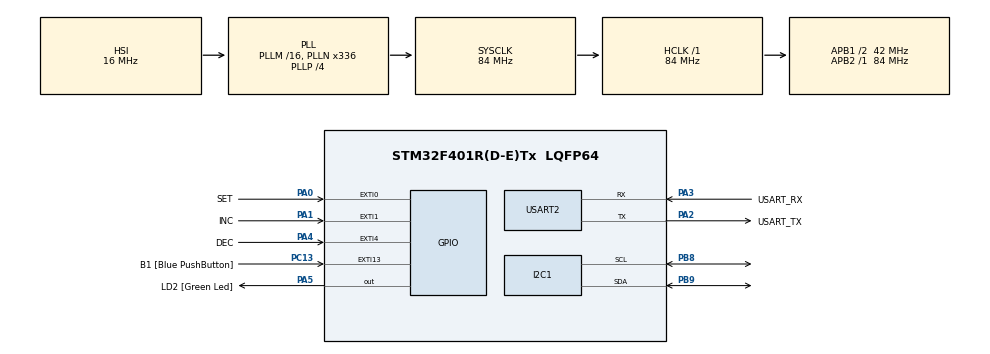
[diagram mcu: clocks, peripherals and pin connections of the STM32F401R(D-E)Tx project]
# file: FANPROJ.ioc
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FREERTOS.Tasks01=defaultTask,24,128,StartDefaultTask,Default,NULL,Dynamic,NULL,NULL
FREERTOS.configUSE_NEWLIB_REENTRANT=1
Mcu.Family=STM32F4
Mcu.Name=STM32F401R(D-E)Tx
Mcu.Package=LQFP64
NVIC.EXTI0_IRQn=true\:5\:0\:false\:false\:true\:false\:true\:true
NVIC.EXTI15_10_IRQn=true\:5\:0\:false\:false\:true\:true\:true\:true
NVIC.EXTI1_IRQn=true\:5\:0\:false\:false\:true\:false\:true\:true
NVIC.EXTI4_IRQn=true\:5\:0\:false\:false\:true\:false\:true\:true
NVIC.PriorityGroup=NVIC_PRIORITYGROUP_4
NVIC.TIM1_UP_TIM10_IRQn=true\:5\:0\:false\:false\:true\:false\:false\:true
NVIC.TimeBase=TIM1_UP_TIM10_IRQn
NVIC.TimeBaseIP=TIM1
PA0-WKUP.GPIO_Label=SET
PA0-WKUP.Signal=GPXTI0
PA1.GPIO_Label=INC
PA1.Signal=GPXTI1
PA13.GPIO_Label=TMS
PA13.Signal=SYS_JTMS-SWDIO
PA14.GPIO_Label=TCK
PA14.Signal=SYS_JTCK-SWCLK
PA2.GPIO_Label=USART_TX
PA2.GPIO_Mode=GPIO_MODE_AF_PP
PA2.GPIO_PuPd=GPIO_NOPULL
PA2.GPIO_Speed=GPIO_SPEED_FREQ_LOW
PA2.Mode=Asynchronous
PA2.Signal=USART2_TX
PA3.GPIO_Label=USART_RX
PA3.GPIO_Mode=GPIO_MODE_AF_PP
PA3.GPIO_PuPd=GPIO_NOPULL
PA3.GPIO_Speed=GPIO_SPEED_FREQ_LOW
PA3.Mode=Asynchronous
PA3.Signal=USART2_RX
PA4.GPIO_Label=DEC
PA4.Signal=GPXTI4
PA5.GPIO_Label=LD2 [Green Led]
PA5.GPIO_Mode=GPIO_MODE_OUTPUT_PP
PA5.GPIO_PuPd=GPIO_NOPULL
PA5.GPIO_Speed=GPIO_SPEED_FREQ_LOW
PA5.Signal=GPIO_Output
PB3.GPIO_Label=SWO
PB3.Signal=SYS_JTDO-SWO
PB8.Mode=I2C
PB8.Signal=I2C1_SCL
PB9.Mode=I2C
PB9.Signal=I2C1_SDA
PC13-ANTI_TAMP.GPIO_Label=B1 [Blue PushButton]
PC13-ANTI_TAMP.GPIO_ModeDefaultEXTI=GPIO_MODE_IT_RISING_FALLING
PC13-ANTI_TAMP.GPIO_PuPd=GPIO_NOPULL
PC13-ANTI_TAMP.Signal=GPXTI13
ProjectManager.HeapSize=0x200
ProjectManager.StackSize=0x400
ProjectManager.TargetToolchain=STM32CubeIDE
RCC.AHBFreq_Value=84000000
RCC.APB1CLKDivider=RCC_HCLK_DIV2
RCC.APB1Freq_Value=42000000
RCC.APB1TimFreq_Value=84000000
RCC.APB2Freq_Value=84000000
RCC.APB2TimFreq_Value=84000000
RCC.CortexFreq_Value=84000000
RCC.HCLKFreq_Value=84000000
RCC.HSE_VALUE=8000000
RCC.HSI_VALUE=16000000
RCC.LSE_VALUE=32768
RCC.PLLN=336
RCC.PLLP=RCC_PLLP_DIV4
RCC.PLLQ=7
RCC.SYSCLKFreq_VALUE=84000000
RCC.SYSCLKSource=RCC_SYSCLKSOURCE_PLLCLK
RCC.VCOOutputFreq_Value=336000000
TIM10.AutoReloadPreload=TIM_AUTORELOAD_PRELOAD_DISABLE
TIM10.Period=65536 - 1
TIM10.Prescaler=8400 - 1
USART2.VirtualMode=VM_ASYNC
VP_FREERTOS_VS_CMSIS_V2.Mode=CMSIS_V2
VP_SYS_VS_tim1.Mode=TIM1
VP_TIM10_VS_ClockSourceINT.Mode=Enable_Timer
board=NUCLEO-F401RE

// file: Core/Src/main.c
/* USER CODE BEGIN Header */
/**
  ******************************************************************************
  * @file           : main.c
  * @brief          : Main program body
  ******************************************************************************
  * @attention
  *
  * Copyright (c) 2022 STMicroelectronics.
  * All rights reserved.
  *
  * This software is licensed under terms that can be found in the LICENSE file
  * in the root directory of this software component.
  * If no LICENSE file comes with this software, it is provided AS-IS.
  *
  ******************************************************************************
  */
/* USER CODE END Header */
#include "main.h"
#include "cmsis_os.h"

/* USER CODE BEGIN Includes */
#include "ctrlManager.h"
#include "ctrlDisplay.h"
/* USER CODE END Includes */

I2C_HandleTypeDef hi2c1;

TIM_HandleTypeDef htim10;

UART_HandleTypeDef huart2;

/* Definitions for defaultTask */
osThreadId_t defaultTaskHandle;
const osThreadAttr_t defaultTask_attributes = {
  .name = "defaultTask",
  .stack_size = 128 * 4,
  .priority = (osPriority_t) osPriorityNormal,
};
/* USER CODE BEGIN PV */
	volatile int counter = 0;
	BaseType_t xReturn;
	TaskHandle_t xCtrlManager;
	volatile eEvent_t evnt = 0;
	eventFlag evFlag = Finish;

	SemaphoreHandle_t ButtonsSemaphore;
	QueueHandle_t DisplayQueue;

/* USER CODE END PV */

void SystemClock_Config(void);
static void MX_GPIO_Init(void);
static void MX_TIM10_Init(void);
static void MX_USART2_UART_Init(void);
static void MX_I2C1_Init(void);
void StartDefaultTask(void *argument);

/* USER CODE BEGIN PFP */
	void vCtrlDisplay(void * params);
	void vMainCtrlManager(void * params);
	//void myprintf(const char *fmt, ...);
/* USER CODE END PFP */

int main(void)
{
  /* USER CODE BEGIN 1 */
	eEvent_t * pParamCtrlM = &evnt;
  /* USER CODE END 1 */

  /* MCU Configuration--------------------------------------------------------*/

  /* Reset of all peripherals, Initializes the Flash interface and the Systick. */
  HAL_Init();

  /* Configure the system clock */
  SystemClock_Config();

  /* Initialize all configured peripherals */
  MX_GPIO_Init();
  MX_TIM10_Init();
  MX_USART2_UART_Init();
  MX_I2C1_Init();
  /* USER CODE BEGIN 2 */
  // Start timer
   HAL_TIM_Base_Start(&htim10);
  /* USER CODE END 2 */

  /* Init scheduler */
  osKernelInitialize();

  /* USER CODE BEGIN RTOS_SEMAPHORES */
  /* add semaphores, ... */
  ButtonsSemaphore = xSemaphoreCreateBinary();
  /* USER CODE END RTOS_SEMAPHORES */

  /* USER CODE BEGIN RTOS_QUEUES */
  /* add queues, ... */
  DisplayQueue = xQueueCreate(2,sizeof(message_t));
  /* USER CODE END RTOS_QUEUES */

  /* Create the thread(s) */
  /* creation of defaultTask */
  defaultTaskHandle = osThreadNew(StartDefaultTask, NULL, &defaultTask_attributes);

  /* USER CODE BEGIN RTOS_THREADS */
  /* add threads, ... */
  xReturn = xTaskCreate(vCtrlDisplay, "CtrlDisplay", TASKDEPHT_DEFAULT, (void*)1,tskIDLE_PRIORITY+1, (void *)1);
  xReturn = xTaskCreate(vMainCtrlManager, "ctrlManager", TASKDEPHT_DEFAULT, (void *)pParamCtrlM, tskIDLE_PRIORITY+1, &xCtrlManager);
  if(xReturn != pdPASS){
	  myprintf("xTask Failed to create the Thread \n\r");
	  return 0;
  }
  /* USER CODE END RTOS_THREADS */

  /* Start scheduler */
  osKernelStart();

  /* We should never get here as control is now taken by the scheduler */
  /* Infinite loop */
  while (1)
  {

  }
}

void SystemClock_Config(void)
{
  RCC_OscInitTypeDef RCC_OscInitStruct = {0};
  RCC_ClkInitTypeDef RCC_ClkInitStruct = {0};

  /** Configure the main internal regulator output voltage
  */
  __HAL_RCC_PWR_CLK_ENABLE();
  __HAL_PWR_VOLTAGESCALING_CONFIG(PWR_REGULATOR_VOLTAGE_SCALE2);
  /** Initializes the RCC Oscillators according to the specified parameters
  * in the RCC_OscInitTypeDef structure.
  */
  RCC_OscInitStruct.OscillatorType = RCC_OSCILLATORTYPE_HSI;
  RCC_OscInitStruct.HSIState = RCC_HSI_ON;
  RCC_OscInitStruct.HSICalibrationValue = RCC_HSICALIBRATION_DEFAULT;
  RCC_OscInitStruct.PLL.PLLState = RCC_PLL_ON;
  RCC_OscInitStruct.PLL.PLLSource = RCC_PLLSOURCE_HSI;
  RCC_OscInitStruct.PLL.PLLM = 16;
  RCC_OscInitStruct.PLL.PLLN = 336;
  RCC_OscInitStruct.PLL.PLLP = RCC_PLLP_DIV4;
  RCC_OscInitStruct.PLL.PLLQ = 7;
  if (HAL_RCC_OscConfig(&RCC_OscInitStruct) != HAL_OK)
  {
    Error_Handler();
  }
  /** Initializes the CPU, AHB and APB buses clocks
  */
  RCC_ClkInitStruct.ClockType = RCC_CLOCKTYPE_HCLK|RCC_CLOCKTYPE_SYSCLK
                              |RCC_CLOCKTYPE_PCLK1|RCC_CLOCKTYPE_PCLK2;
  RCC_ClkInitStruct.SYSCLKSource = RCC_SYSCLKSOURCE_PLLCLK;
  RCC_ClkInitStruct.AHBCLKDivider = RCC_SYSCLK_DIV1;
  RCC_ClkInitStruct.APB1CLKDivider = RCC_HCLK_DIV2;
  RCC_ClkInitStruct.APB2CLKDivider = RCC_HCLK_DIV1;

  if (HAL_RCC_ClockConfig(&RCC_ClkInitStruct, FLASH_LATENCY_2) != HAL_OK)
  {
    Error_Handler();
  }
}

static void MX_I2C1_Init(void)
{

  hi2c1.Instance = I2C1;
  hi2c1.Init.ClockSpeed = 100000;
  hi2c1.Init.DutyCycle = I2C_DUTYCYCLE_2;
  hi2c1.Init.OwnAddress1 = 0;
  hi2c1.Init.AddressingMode = I2C_ADDRESSINGMODE_7BIT;
  hi2c1.Init.DualAddressMode = I2C_DUALADDRESS_DISABLE;
  hi2c1.Init.OwnAddress2 = 0;
  hi2c1.Init.GeneralCallMode = I2C_GENERALCALL_DISABLE;
  hi2c1.Init.NoStretchMode = I2C_NOSTRETCH_DISABLE;
  if (HAL_I2C_Init(&hi2c1) != HAL_OK)
  {
    Error_Handler();
  }

}

static void MX_TIM10_Init(void)
{

  htim10.Instance = TIM10;
  htim10.Init.Prescaler = 8400 - 1;
  htim10.Init.CounterMode = TIM_COUNTERMODE_UP;
  htim10.Init.Period = 65536 - 1;
  htim10.Init.ClockDivision = TIM_CLOCKDIVISION_DIV1;
  htim10.Init.AutoReloadPreload = TIM_AUTORELOAD_PRELOAD_DISABLE;
  if (HAL_TIM_Base_Init(&htim10) != HAL_OK)
  {
    Error_Handler();
  }

}

static void MX_USART2_UART_Init(void)
{

  huart2.Instance = USART2;
  huart2.Init.BaudRate = 115200;
  huart2.Init.WordLength = UART_WORDLENGTH_8B;
  huart2.Init.StopBits = UART_STOPBITS_1;
  huart2.Init.Parity = UART_PARITY_NONE;
  huart2.Init.Mode = UART_MODE_TX_RX;
  huart2.Init.HwFlowCtl = UART_HWCONTROL_NONE;
  huart2.Init.OverSampling = UART_OVERSAMPLING_16;
  if (HAL_UART_Init(&huart2) != HAL_OK)
  {
    Error_Handler();
  }

}

static void MX_GPIO_Init(void)
{
  GPIO_InitTypeDef GPIO_InitStruct = {0};

  /* GPIO Ports Clock Enable */
  __HAL_RCC_GPIOC_CLK_ENABLE();
  __HAL_RCC_GPIOA_CLK_ENABLE();
  __HAL_RCC_GPIOB_CLK_ENABLE();

  /*Configure GPIO pin Output Level */
  HAL_GPIO_WritePin(LD2_GPIO_Port, LD2_Pin, GPIO_PIN_RESET);

  /*Configure GPIO pin : B1_Pin */
  GPIO_InitStruct.Pin = B1_Pin;
  GPIO_InitStruct.Mode = GPIO_MODE_IT_RISING_FALLING;
  GPIO_InitStruct.Pull = GPIO_NOPULL;
  HAL_GPIO_Init(B1_GPIO_Port, &GPIO_InitStruct);

  /*Configure GPIO pins : SET_Pin INC_Pin DEC_Pin */
  GPIO_InitStruct.Pin = SET_Pin|INC_Pin|DEC_Pin;
  GPIO_InitStruct.Mode = GPIO_MODE_IT_RISING;
  GPIO_InitStruct.Pull = GPIO_NOPULL;
  HAL_GPIO_Init(GPIOA, &GPIO_InitStruct);

  /*Configure GPIO pin : LD2_Pin */
  GPIO_InitStruct.Pin = LD2_Pin;
  GPIO_InitStruct.Mode = GPIO_MODE_OUTPUT_PP;
  GPIO_InitStruct.Pull = GPIO_NOPULL;
  GPIO_InitStruct.Speed = GPIO_SPEED_FREQ_LOW;
  HAL_GPIO_Init(LD2_GPIO_Port, &GPIO_InitStruct);

  /* EXTI interrupt init*/
  HAL_NVIC_SetPriority(EXTI0_IRQn, 5, 0);
  HAL_NVIC_EnableIRQ(EXTI0_IRQn);

  HAL_NVIC_SetPriority(EXTI1_IRQn, 5, 0);
  HAL_NVIC_EnableIRQ(EXTI1_IRQn);

  HAL_NVIC_SetPriority(EXTI4_IRQn, 5, 0);
  HAL_NVIC_EnableIRQ(EXTI4_IRQn);

  HAL_NVIC_SetPriority(EXTI15_10_IRQn, 5, 0);
  HAL_NVIC_EnableIRQ(EXTI15_10_IRQn);

}

/* USER CODE BEGIN 4 */

void vCtrlDisplay(void * params){
	ctrlDisplay_t * SMCCtrlDisplay;
	SMCCtrlDisplay = pCtrlDisplay_create();
	for(;;){
		vCtrlDisplay_EventDispatch(SMCCtrlDisplay);
		myprintf("Getting out of Display: \r\n");
	}
}

void vMainCtrlManager(void * params){
	//HAL_UART_Transmit(&huart2, "Executing vMainCtrlManager \n\r", MSG_LENGHT, TIMEOUT);
	ctrlManager_t * SMCtrlManager;
	SMCtrlManager = vCtrlManager_create();
	SMCtrlManager->nextStateID = SWAIT4BUTTON; //default state
	//count = 0;
	for(;;){
		vCtrlManager_EventDispatch(SMCtrlManager,evnt);
		myprintf("Getting out of Ctrl: \r\n");
		//HAL_UART_Transmit(&huart2, "Inside vMainCtrlManager \n\r", 26, TIMEOUT);
	}
}

void myprintf(const char *fmt, ...) {
	static char buffer[256];
	va_list args;
	va_start(args, fmt);
	vsnprintf(buffer, sizeof(buffer), fmt, args);
	va_end(args);

	int len = strlen(buffer);
	HAL_UART_Transmit(&huart2, (uint8_t*)buffer, len, -1);

}

/**
  * @brief  Buttons rise edge callback
  * @note   This function manage all inerrupts comming from control inputs
  * HAL_GPIO_EXTI_IRQHandler. It handles the iterrup reques, clearing and
  * passing the control to the callback function for user process.
  * @param  GPIO_Pin : ID from GPIO_pin
  * @retval None
  */
void HAL_GPIO_EXTI_Callback(uint16_t GPIO_Pin){
	/*Callback for processing INC_Pin*/
	if (GPIO_Pin == B1_Pin){
		static portBASE_TYPE xHigherPriorityTaskWoken;
		xHigherPriorityTaskWoken = pdTRUE;

		evnt = BUTTON_SET;
		xSemaphoreGiveFromISR(ButtonsSemaphore, &xHigherPriorityTaskWoken);
		if(evFlag == Finish){
			myprintf("Inside B1_Pin Callback \n\r");
			evFlag = Start;
			//counter = 0;
		}
		else{
			evFlag = Finish;
		}
	/*	if(xHigherPriorityTaskWoken == pdTRUE){
			//portSWITCH_CONTEXT();
		}*/
	}

	if (GPIO_Pin == INC_Pin){

	}

	/*Callback for processing DEC_Pin*/
	if (GPIO_Pin == DEC_Pin){

	}

	/*Callback for processing SET_Pin*/
	if (GPIO_Pin == SET_Pin){

	}
}
/* USER CODE END 4 */

void StartDefaultTask(void *argument)
{
  for(;;)
  {
    osDelay(1);
  }
}

void HAL_TIM_PeriodElapsedCallback(TIM_HandleTypeDef *htim)
{
  /* USER CODE BEGIN Callback 0 */
  /* Timer for base time in seconds */
  if (htim->Instance == TIM10) {

  }

  /* USER CODE END Callback 0 */
  if (htim->Instance == TIM1) {
    HAL_IncTick();
  }
}

void Error_Handler(void)
{
  __disable_irq();
  while (1)
  {
  }
}
